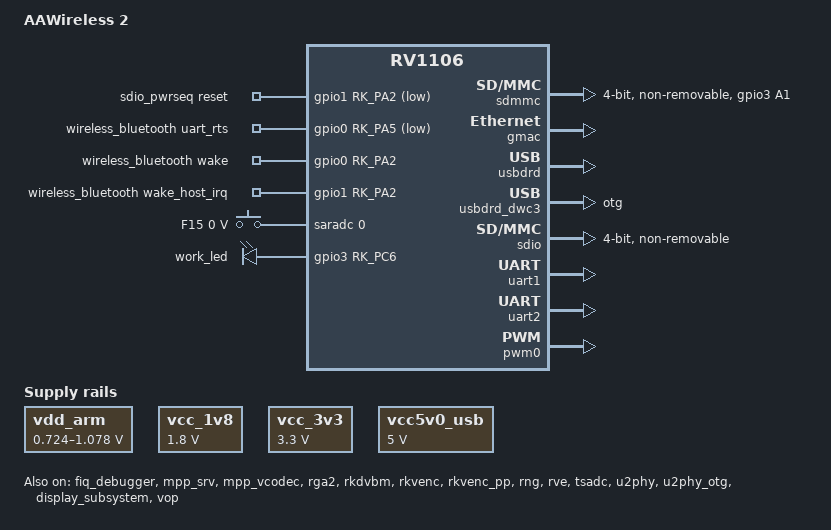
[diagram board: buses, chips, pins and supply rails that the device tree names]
// SPDX-License-Identifier: (GPL-2.0+ OR MIT)

/dts-v1/;

#include "rv1106.dtsi"
#include <dt-bindings/input/input.h>

/ {
    model = "AAWireless 2";
    compatible = "rockchip,aaw2", "rockchip,rv1106g3";

    chosen {
        bootargs = "earlyprintk rk_dma_heap_cma=16M earlycon=uart8250,mmio32,0xff4c0000 console=ttyS2,115200 rootwait";
    };

    vdd_arm: vdd-arm {
        compatible = "regulator-fixed";
        regulator-name = "vdd_arm";
        regulator-min-microvolt = <724000>;
        regulator-max-microvolt = <1078000>;
        regulator-init-microvolt = <950000>;
        regulator-always-on;
        regulator-boot-on;
        regulator-settling-time-up-us = <250>;
    };

    vcc_1v8: vcc-1v8 {
        compatible = "regulator-fixed";
        regulator-name = "vcc_1v8";
        regulator-always-on;
        regulator-boot-on;
        regulator-min-microvolt = <1800000>;
        regulator-max-microvolt = <1800000>;
    };

    vcc_3v3: vcc-3v3 {
        compatible = "regulator-fixed";
        regulator-name = "vcc_3v3";
        regulator-always-on;
        regulator-boot-on;
        regulator-min-microvolt = <3300000>;
        regulator-max-microvolt = <3300000>;
    };

    vcc5v0_usb: vcc5v0-usb {
        compatible = "regulator-fixed";
        regulator-name = "vcc5v0_usb";
        regulator-always-on;
        regulator-boot-on;
        regulator-min-microvolt = <5000000>;
        regulator-max-microvolt = <5000000>;
    };

    sdio_pwrseq: sdio-pwrseq {
        compatible = "mmc-pwrseq-simple";
        pinctrl-names = "default";
        pinctrl-0 = <&wifi_enable>;
        reset-gpios = <&gpio1 RK_PA2 GPIO_ACTIVE_LOW>;
    };

    wireless_bluetooth: wireless-bluetooth {
        compatible = "bluetooth-platdata";
        uart_rts_gpios = <&gpio0 RK_PA5 GPIO_ACTIVE_LOW>;
        pinctrl-names = "default", "rts_gpio";
        pinctrl-0 = <&uart1m0_rtsn>;
        pinctrl-1 = <&uart1_gpios>;
        BT,wake_gpio     = <&gpio0 RK_PA2 GPIO_ACTIVE_HIGH>;
        BT,wake_host_irq = <&gpio1 RK_PA2 GPIO_ACTIVE_HIGH>;
        status = "okay";
    };

    adc-keys {
        compatible = "adc-keys";
        io-channels = <&saradc 0>;
        io-channel-names = "buttons";
        poll-interval = <100>;
        keyup-threshold-microvolt = <1800000>;

        key_volumeup-key {
            label = "F15";
            linux,code = <KEY_F15>;
            press-threshold-microvolt = <0>;
        };
    };

    gpio-leds {
        compatible = "gpio-leds";
        work_led: work{
            gpios = <&gpio3 RK_PC6 GPIO_ACTIVE_HIGH>;
            linux,default-trigger = "activity";
            default-state = "on";
        };
    };

    reserved_memory: reserved-memory {
        status = "okay";
        #address-cells = <1>;
        #size-cells = <1>;
        ranges;
        mmc_ecsd: mmc@3f000 {
            reg = <0x3f000 0x00001000>;
        };
    };
};

&fiq_debugger {
    rockchip,irq-mode-enable = <1>;
    status = "okay";
};

&emmc {
    bus-width = <8>;
    cap-mmc-highspeed;
    non-removable;
    // mmc-hs200-1_8v;
    rockchip,default-sample-phase = <90>;
    no-sdio;
    no-sd;
    memory-region-ecsd = <&mmc_ecsd>;
    post-power-on-delay-ms = <0>;
    status = "okay";
};

&sdmmc {
    max-frequency = <50000000>;
    bus-width = <4>;
    cap-sd-highspeed;
    cap-sdio-irq;
    keep-power-in-suspend;
    non-removable;
    rockchip,default-sample-phase = <90>;
    // no-sd;
    // no-mmc;
    supports-sdio;
    mmc-pwrseq = <&sdio_pwrseq>;
    pinctrl-names = "default";
    pinctrl-0 = <&sdmmc0_clk &sdmmc0_cmd &sdmmc0_bus4 &sdmmc0_det>;
    status = "okay";
};

&gmac {
    status = "okay";
};

&i2s0_8ch {
    status = "disabled";
};

&mpp_srv {
    status = "okay";
};

&mpp_vcodec {
    status = "okay";
};

&npu {
    status = "disabled";
};

&rga2 {
    status = "okay";
};

&rkdvbm {
    status = "okay";
};

&rkvenc {
    status = "okay";
};

&rkvenc_pp {
    status = "okay";
};

&rng {
    status = "okay";
};

&rve {
    status = "okay";
};

&tsadc {
    status = "okay";
};

&u2phy {
    status = "okay";
};

&u2phy_otg {
    status = "okay";
    vbus-supply = <&vcc5v0_usb>;
    rockchip,vbus-always-on;
};

&usbdrd {
    status = "okay";
};

&usbdrd_dwc3 {
    extcon = <&u2phy>;
    status = "okay";
    dr_mode = "otg";
};

&acodec {
    status = "disabled";
};

&cpu0 {
    cpu-supply = <&vdd_arm>;
};

&emmc {
    status = "disabled";
};

&dsm {
    status = "disabled";
};

&i2c4 {
    status = "disabled";
};

&i2s0_8ch {
    status = "disabled";
};

&rtc {
    status = "disabled";
};

&sfc {
    status = "disabled";
};

&pinctrl {
    sdio-pwrseq {
        wifi_enable: wifi-enable {
            rockchip,pins = <1 RK_PA2 RK_FUNC_GPIO &pcfg_pull_none>;
        };
    };

    wireless-bluetooth {
        uart1_gpios: uart1-gpios {
            rockchip,pins = <0 RK_PA5 RK_FUNC_GPIO &pcfg_pull_none>;
        };
    };

    key {
        pwrbtn: pwrbtn {
            rockchip,pins = <1 RK_PB1 RK_FUNC_GPIO &pcfg_pull_up>;
        };
    };

    sdmmc0 {
        sdmmc0_det: sdmmc0-det {
            rockchip,pins = <3 RK_PA1 1 &pcfg_pull_down>;
        };
    };
};

&sdio {
    max-frequency = <200000000>;
    bus-width = <4>;
    cap-sd-highspeed;
    cap-sdio-irq;
    keep-power-in-suspend;
    non-removable;
    rockchip,default-sample-phase = <90>;
    sd-uhs-sdr104;
    supports-sdio;
    mmc-pwrseq = <&sdio_pwrseq>;
    pinctrl-names = "default";
    pinctrl-0 = <&sdmmc1m1_cmd &sdmmc1m1_clk &sdmmc1m1_bus4>;
    status = "okay";
};

&uart1 {
    status = "okay";
    pinctrl-names = "default";
    pinctrl-0 = <&uart1m1_xfer>;
};

&uart2 {
	status = "okay";
};

&display_subsystem {
    status = "okay";
};

&vop {
    status = "okay";
};

&pwm0 {
    pinctrl-0 = <&pwm0m1_pins>;
    status = "okay";
};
